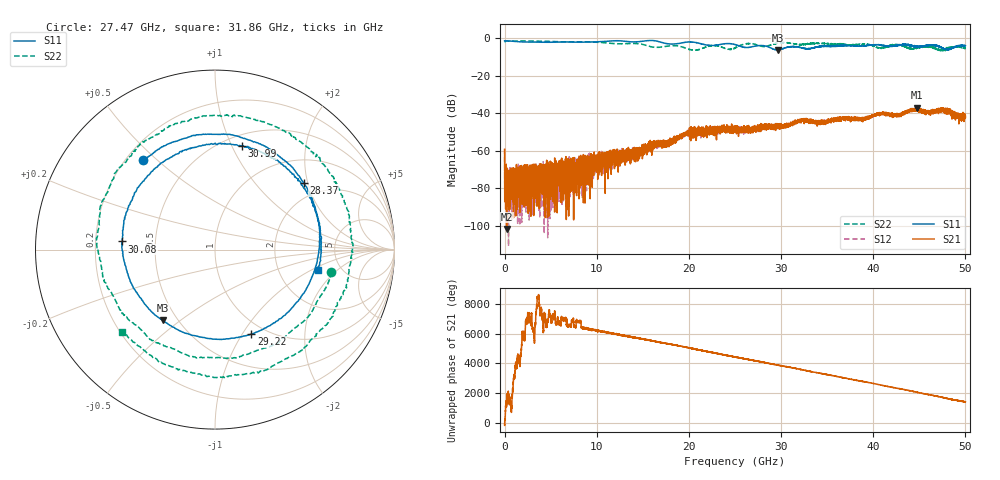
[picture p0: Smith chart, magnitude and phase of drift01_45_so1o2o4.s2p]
!Created with skrf (http://scikit-rf.org).
# Hz S RI R 50.0
!freq ReS11 ImS11 ReS21 ImS21 ReS12 ImS12 ReS22 ImS22
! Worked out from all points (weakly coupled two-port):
!   10001 points, 300 kHz to 50 GHz, reference 50 ohm
!   highest |S21| = -37.02 dB at 44.71 GHz (marker M1); lowest = -101.8 dB at 220.3 MHz (marker M2)
!   lowest |S11| = -6.2 dB at 29.64 GHz (marker M3), VSWR 2.92, Z = 20.9 - j21.5 ohm
!   |S11| at or under -10 dB: nowhere
!   |S22| runs from -6.7 to -1.4 dB; largest |S21 - S12| = 0.0041
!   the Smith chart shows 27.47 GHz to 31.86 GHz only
!   S11 on the Smith chart (normalised r, x): 27.47 GHz: 0.27, +0.45; 28.37 GHz: 1.57, +1.88; 29.22 GHz: 0.86, -1.10; 30.08 GHz: 0.32, +0.04; 30.99 GHz: 0.61, +1.09; 31.86 GHz: 3.40, -1.18
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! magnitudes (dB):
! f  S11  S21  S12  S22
! 300 kHz  -1.3  -59.3  -58.9  -2.1
! 220.3 MHz  -1.4  -101.8  -72.4  -1.4
! 5.03 GHz  -2.1  -70.5  -91.8  -1.6
! 8.335 GHz  -2.0  -68.8  -70.8  -1.8
! 16.67 GHz  -1.6  -54.5  -57.5  -4.8
! 18.62 GHz  -2.9  -53.4  -54.1  -3.9
! 20.48 GHz  -2.0  -50.7  -50.8  -6.3
! 22.6 GHz  -3.8  -48.6  -51.0  -3.7
! 25 GHz  -3.3  -48.1  -48.5  -5.1
! 27.47 GHz  -3.9  -46.3  -47.7  -3.6
! 28.37 GHz  -4.2  -46.3  -47.6  -4.3
! 29.22 GHz  -5.8  -46.6  -47.0  -3.0
! 29.64 GHz  -6.2  -46.4  -47.3  -2.5
! 30.08 GHz  -5.7  -46.3  -47.2  -2.4
! 30.99 GHz  -4.5  -45.4  -45.4  -2.5
! 31.86 GHz  -4.6  -44.3  -44.2  -3.2
! 33.34 GHz  -5.3  -45.1  -44.3  -2.7
! 41.67 GHz  -4.3  -39.8  -40.4  -4.4
! 44.71 GHz  -4.6  -37.0  -38.1  -5.4
! 46.56 GHz  -3.6  -39.7  -38.9  -4.7
! 47.75 GHz  -5.6  -38.8  -38.7  -5.3
! 50 GHz  -3.9  -42.2  -42.6  -5.4
